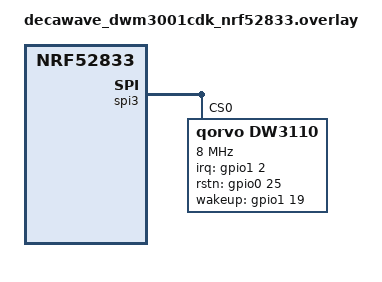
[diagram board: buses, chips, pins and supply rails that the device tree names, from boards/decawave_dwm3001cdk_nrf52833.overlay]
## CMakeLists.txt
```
#
# FindFamily UWB tracker firmware (Qorvo DWM3001CDK: nRF52833 + DW3110).
#
# Build:
#   west build -b nrf52833dk/nrf52833 firmware/findfamily-tracker
# See README.md for the DWM3001CDK board notes.
#
cmake_minimum_required(VERSION 3.20.0)

find_package(Zephyr REQUIRED HINTS $ENV{ZEPHYR_BASE})
project(findfamily_tracker)

target_sources(app PRIVATE
  src/main.c
  src/tracker_store.c
  src/tracker_epoch.c
  src/tracker_ble.c
)

# UWB is written but not built by default: the FiRa responder session needs the
# licensed Qorvo DW3xxx driver, which isn't vendored here. See README.md.
target_sources_ifdef(CONFIG_FF_TRACKER_UWB app PRIVATE
  src/tracker_sts.c
  src/tracker_uwb.c
)
```

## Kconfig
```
# Copyright (c) 2026 Vayun Mathur
# SPDX-License-Identifier: Apache-2.0

menu "FindFamily tracker"

config FF_TRACKER_UWB
	bool "Build the UWB (FiRa responder) path"
	default n
	select QORVO_UWB
	help
	  Compile src/tracker_sts.c and src/tracker_uwb.c, which run a FiRa
	  responder/controlee session on the DW3110. Off by default because it needs
	  the licensed Qorvo DW3xxx SDK, which is not vendored in this repo — the BLE
	  crowd-finding image builds and flashes without it. Point QORVO_SDK_DIR at an
	  extracted copy to enable this. See README.md.

config FF_TRACKER_BEACON_INTERVAL_MS
	int "Beacon advertising interval (ms)"
	default 1000
	range 100 10000
	help
	  Extended-advertising interval for the rotating epoch-id beacon. The tradeoff is
	  battery against how quickly a passing finder phone hears the tracker; 1 s is
	  roughly what commercial trackers use.

config FF_TRACKER_PAIRING_TIMEOUT_S
	int "Pairing-mode timeout (seconds)"
	default 120
	range 10 600
	help
	  How long an unprovisioned-service advertisement runs after a long button press
	  before falling back to the previous mode. Bounds the window in which anything
	  nearby could claim an already-bound tracker.

endmenu

source "Kconfig.zephyr"
```

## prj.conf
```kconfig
# FindFamily UWB tracker — nRF52833 (Qorvo DWM3001C module)

# PSA crypto needs a few KB of stack, and the main loop is where the epoch id is
# derived and the beacon started (both moved off the Bluetooth RX thread, whose stack
# is far too small for either — doing them inline in a GATT callback faults).
CONFIG_MAIN_STACK_SIZE=4096

# --- Bluetooth ------------------------------------------------------------
CONFIG_BT=y
CONFIG_BT_PERIPHERAL=y
CONFIG_BT_DEVICE_NAME="FF Tracker"
CONFIG_BT_DEVICE_APPEARANCE=0
# Two connection slots, not one. The switch to beacon mode happens while the binding
# phone is still attached, and starting a *connectable* advertisement needs a free slot —
# with a single slot it fails with -ENOMEM and the tracker ends up advertising nothing.
CONFIG_BT_MAX_CONN=2

# The crowd-finding beacon is [16B epochId][1B battery] of service data under a
# 128-bit UUID = 35 bytes on air, past the 31-byte legacy limit, so it has to be an
# extended advertisement. Pairing mode stays legacy (21 bytes) so the phone can find
# it with default scan settings.
CONFIG_BT_EXT_ADV=y
# Three advertising sets: the legacy pairing set, the extended beacon (data, not
# connectable), and a connectable set that runs alongside the beacon so the owner can write
# UWB session params while crowd-finding. See beacon_param in src/tracker_ble.c for why
# connectability cannot live on the beacon set itself.
CONFIG_BT_EXT_ADV_MAX_ADV_SET=3
CONFIG_BT_CTLR_ADV_EXT=y

CONFIG_BT_GATT_DYNAMIC_DB=y
# A client on the default 23-byte ATT MTU sends the 48-byte provisioning blob as a long
# write in ~20-byte chunks, so there must be room to queue at least three of them.
CONFIG_BT_ATT_PREPARE_COUNT=6
# Must fit the 48-byte provisioning write in a single ATT operation when the client does
# negotiate a larger MTU (the app asks for one).
CONFIG_BT_BUF_ACL_RX_SIZE=69
CONFIG_BT_L2CAP_TX_MTU=65

# --- Crypto (PSA / nrf_security) -----------------------------------------
# Epoch ids must be byte-identical to TrackerProtocol.epochId on the phone and
# tracker_epoch_id on the server, so use the same primitives: HMAC-SHA256 and
# HKDF-SHA256. CONFIG_NRF_SECURITY is deliberately not set: it is def_bool y once
# PSA_CRYPTO selects the Nordic provider, and assigning it directly is an error.
CONFIG_PSA_CRYPTO=y
CONFIG_PSA_WANT_ALG_SHA_256=y
CONFIG_PSA_WANT_ALG_HMAC=y
CONFIG_PSA_WANT_ALG_HKDF=y
CONFIG_PSA_WANT_KEY_TYPE_HMAC=y
CONFIG_PSA_WANT_KEY_TYPE_DERIVE=y
CONFIG_HEAP_MEM_POOL_SIZE=4096

# --- Persistence ---------------------------------------------------------
# The provisioning blob and the time base have to survive a reset, or the tracker
# beacons ids no owner is looking for.
CONFIG_NVS=y
CONFIG_FLASH=y
CONFIG_FLASH_MAP=y
CONFIG_FLASH_PAGE_LAYOUT=y
CONFIG_SETTINGS=y
CONFIG_SETTINGS_NVS=y

# --- Board I/O -----------------------------------------------------------
CONFIG_GPIO=y

# Hardware watchdog, fed by the main loop. A hung tracker advertises nothing, so a hang
# takes crowd-finding down with it and stays down until someone resets the board by hand.
# This turns that into a few seconds of downtime. See watchdog_init() in src/main.c.
CONFIG_WATCHDOG=y

# --- Logging over the on-board J-Link CDC UART ---------------------------
CONFIG_LOG=y
CONFIG_CONSOLE=y
CONFIG_UART_CONSOLE=y
CONFIG_LOG_MODE_DEFERRED=y
CONFIG_LOG_BUFFER_SIZE=4096

# Deferred logging processes every message on one thread, created at
# K_LOWEST_APPLICATION_THREAD_PRIO (14 here) unless told otherwise — below both UWB threads,
# so a busy UWB thread erased the record of what it was doing. Raising that thread above them
# is the fix; CONFIG_LOG_MODE_IMMEDIATE is not. Immediate mode "is processed in the context of
# the call" (Kconfig.mode), i.e. a LOG_INF from the Bluetooth RX thread sits in uart_poll_out
# for milliseconds per line, which is what made every GATT connection fail with Android
# status 133. A separate thread cannot do that to it: the RX thread is cooperative
# (K_PRIO_COOP(CONFIG_BT_RX_PRIO), hci_core.c) so no preemptible priority preempts it.
#
# 3 rather than something higher: above both UWB threads (6 and 7) and level with the Qorvo
# MAC's NORMAL band, which timeslicing then shares with rather than starving.
CONFIG_LOG_PROCESS_THREAD_CUSTOM_PRIORITY=y
CONFIG_LOG_PROCESS_THREAD_PRIORITY=3

# CONFIG_LOG_PRINTK is deliberately left at its default (y), so printk() stays inside the
# logging subsystem. Turning it off would make the ff_uwb_start() markers synchronous, but
# it also sends them to *the console* — the CDC UART, the path that drops lines (see below).
# The lossless path is CONFIG_LOG_BACKEND_RTT, and a log backend only ever sees LOG_*, never
# printk. Bring-up markers therefore go through LOG_INF, which reaches both backends.

# Also log over SEGGER RTT. The CDC UART path loses lines — a capture that should have held
# ~120 once-per-second beacon messages held 46 — which is bad enough to have produced
# contradictory evidence while debugging (a GATT write the phone reported as successful and
# the firmware appeared never to receive). RTT goes over the debug probe and doesn't drop.
CONFIG_USE_SEGGER_RTT=y
CONFIG_LOG_BACKEND_RTT=y
CONFIG_SEGGER_RTT_BUFFER_SIZE_UP=4096

CONFIG_REBOOT=y
```

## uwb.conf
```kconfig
# Overlay config for the UWB (FiRa precision-finding) build. Not part of prj.conf so the
# BLE-only image is unaffected:
#
#   west build -b decawave_dwm3001cdk/nrf52833 firmware/findfamily-tracker \
#     -- -DEXTRA_CONF_FILE=uwb.conf \
#        -DZEPHYR_EXTRA_MODULES=<repo>/firmware/qorvo-uwb
#
# Requires the licensed Qorvo SDK via QORVO_SDK_DIR / QORVO_DRIVER_DIR. See README.md.

CONFIG_FF_TRACKER_UWB=y

# Zephyr log level for firmware/qorvo-uwb's own sources (3 = INF), so the SPI probe trace
# and the DW3110 init messages are visible. Note this is Zephyr's scale, where 2 would be
# warning — distinct from CONFIG_QORVO_UWB_QLOG_LEVEL, which is Qorvo's.
CONFIG_QORVO_UWB_LOG_LEVEL_INF=y

# qosal allocates session state and frame buffers; firmware/qorvo-uwb routes those to
# k_malloc, so this pool has to cover them as well as normal kernel use — and now the MAC
# thread stacks too, since those are allocated from it.
CONFIG_HEAP_MEM_POOL_SIZE=24576

# Thread stacks for the Qorvo MAC are allocated at runtime. Its qmalloc returns pointers
# offset past a quota prefix, so the buffers it passes to qthread_create are byte-misaligned
# and unusable as Zephyr stacks; firmware/qorvo-uwb/src/qthread_zephyr.c ignores them and
# allocates properly instead, which needs these.
CONFIG_DYNAMIC_THREAD=y
CONFIG_DYNAMIC_THREAD_ALLOC=y
CONFIG_DYNAMIC_THREAD_PREFER_ALLOC=y

# The Qorvo MAC runs its own threads and workqueue.
CONFIG_SYSTEM_WORKQUEUE_STACK_SIZE=2048
```

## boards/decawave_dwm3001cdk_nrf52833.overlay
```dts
/*
 * DWM3001CDK: expose the on-module DW3110 as an SPI child so the Qorvo stack can
 * find its bus, chip select, IRQ and reset lines from the devicetree.
 *
 * Pin assignments are the DWM3001CDK's, taken from the vendor SDK's board config
 * (Projects/FreeRTOS/<app>/DWM3001CDK/ProjectDefinition/uwb_stack_llhw.cmake):
 *   SPI3  SCK P0.03, MOSI P0.08, MISO P0.29, CS P1.06   (already in the board dts)
 *   IRQ   P1.02
 *   RSTn  P0.25   open-drain: the DW3000 must never be driven high, only pulled low
 *   WAKEUP P1.19  unused for now; the part is kept out of deep sleep
 *
 * `qorvo,dw3110` has no Zephyr driver behind it: the binding
 * (firmware/qorvo-uwb/dts/bindings) exists only so DT_BUS()/GPIO_DT_SPEC_GET() resolve.
 * The Qorvo stack reaches the bus itself, see firmware/qorvo-uwb/src/qplatform_zephyr.c.
 */

&spi3 {
	status = "okay";

	dw3110: dw3110@0 {
		compatible = "qorvo,dw3110";
		reg = <0>;
		/* 8 MHz is the DW3000's safe rate until it leaves INIT state; the driver
		 * raises it to CONFIG_QORVO_UWB_SPI_FREQ_FAST_HZ once identified. */
		spi-max-frequency = <8000000>;
		irq-gpios = <&gpio1 2 (GPIO_ACTIVE_HIGH | GPIO_PULL_DOWN)>;
		/*
		 * Open drain, but deliberately NOT GPIO_ACTIVE_LOW. qplatform_uwb_reset()
		 * asserts reset with qgpio's QGPIO_OUTPUT_LOW, which maps to Zephyr's
		 * GPIO_OUTPUT_INIT_LOW — a *logical* level. Marking the pin active-low
		 * would invert that and release reset instead of asserting it. Active-high
		 * here makes logical and physical levels agree, so "output low" really
		 * pulls RSTn down; open drain still means it is never driven high.
		 */
		rstn-gpios = <&gpio0 25 GPIO_OPEN_DRAIN>;
		wakeup-gpios = <&gpio1 19 GPIO_ACTIVE_HIGH>;
		status = "okay";
	};
};
```

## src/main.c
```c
/*
 * FindFamily UWB tracker — main state machine.
 *
 * On boot: load persisted provisioning. Provisioned and time-synced -> beacon.
 * Otherwise -> pairing mode, so a brand-new board is bindable straight out of the box
 * without needing the button.
 *
 * Button (the kit's Button 1):
 *   long press  (>= 2 s) -> pairing mode for CONFIG_FF_TRACKER_PAIRING_TIMEOUT_S, then back
 *                           to beaconing. Note a bound tracker cannot be re-provisioned:
 *                           on_provision_write refuses writes once provisioned, which is
 *                           the anti-theft lock. Nothing unbinds a tracker today.
 *   short press          -> toggle the beacon off/on ("mute"), for taking it on a plane
 *                           or debugging whether a sighting really came from this board
 *
 * The beacon id and battery percent are refreshed once a second and logged, so the
 * board can be verified on the bench against an independently computed epoch id
 * without involving the phone at all.
 */
#include "ff_tracker.h"

#include <zephyr/kernel.h>
#include <zephyr/device.h>
#include <zephyr/drivers/gpio.h>
#include <zephyr/drivers/watchdog.h>
#include <zephyr/logging/log.h>
#include <psa/crypto.h>

LOG_MODULE_REGISTER(ff_main, LOG_LEVEL_INF);

#define LONG_PRESS_MS 2000
#define TICK_MS 1000

static struct ff_tracker_state tracker_state;

/* ---- Button ------------------------------------------------------------ */

static const struct gpio_dt_spec button =
	GPIO_DT_SPEC_GET_OR(DT_ALIAS(sw0), gpios, { 0 });
static struct gpio_callback button_cb;

static int64_t press_started_ms;
static atomic_t pending_short_press;
static atomic_t pending_long_press;

static void button_changed(const struct device *dev, struct gpio_callback *cb,
			   uint32_t pins)
{
	ARG_UNUSED(dev);
	ARG_UNUSED(cb);
	ARG_UNUSED(pins);

	if (gpio_pin_get_dt(&button) == 1) {
		press_started_ms = k_uptime_get();
		return;
	}
	if (press_started_ms == 0) {
		return;
	}
	if (k_uptime_get() - press_started_ms >= LONG_PRESS_MS) {
		atomic_set(&pending_long_press, 1);
	} else {
		atomic_set(&pending_short_press, 1);
	}
	press_started_ms = 0;
}

static int button_init(void)
{
	int rc;

	if (!gpio_is_ready_dt(&button)) {
		LOG_WRN("no sw0 button on this board; pairing mode is boot-only");
		return -ENODEV;
	}
	rc = gpio_pin_configure_dt(&button, GPIO_INPUT);
	if (rc) {
		return rc;
	}
	rc = gpio_pin_interrupt_configure_dt(&button, GPIO_INT_EDGE_BOTH);
	if (rc) {
		return rc;
	}
	gpio_init_callback(&button_cb, button_changed, BIT(button.pin));
	return gpio_add_callback(button.port, &button_cb);
}

/* ---- Battery ---------------------------------------------------------- */

/*
 * The DWM3001CDK is USB-powered on the bench, so there is no meaningful cell voltage
 * to read through the kit's SAADC wiring. Report a constant until a battery-backed
 * carrier exists; the advertisement byte and the phone-side parsing are exercised
 * either way. Sampling VDD here instead would just report the regulator, which reads
 * as a permanently full battery and is more misleading than an obvious placeholder.
 */
static uint8_t battery_percent(void)
{
	return 100;
}

/* ---- Main ------------------------------------------------------------- */

/*
 * Hardware watchdog.
 *
 * The UWB stack has wedged the firmware more than once, and a hung tracker advertises
 * nothing at all — so crowd-finding silently dies with it, and it stays dead until someone
 * physically resets the board. That happened for an hour. This bounds the damage to a few
 * seconds: the main loop feeds the watchdog on every pass, so if anything stops it running,
 * the device reboots and comes back advertising from its persisted state.
 *
 * The timeout is deliberately several times the loop period, so a slow pass never trips it.
 */
#define WDT_TIMEOUT_MS 8000

static const struct device *wdt;
static int wdt_channel = -1;

static void watchdog_init(void)
{
	struct wdt_timeout_cfg cfg = {
		.window = { .min = 0U, .max = WDT_TIMEOUT_MS },
		/* No callback: by the time it fires the firmware is untrustworthy, and a
		 * handler that tries to log could itself hang. Just reset. */
		.callback = NULL,
		.flags = WDT_FLAG_RESET_SOC,
	};
	int rc;

	wdt = DEVICE_DT_GET_OR_NULL(DT_ALIAS(watchdog0));
	if (wdt == NULL || !device_is_ready(wdt)) {
		LOG_WRN("no watchdog available; a hang will not self-recover");
		wdt = NULL;
		return;
	}

	wdt_channel = wdt_install_timeout(wdt, &cfg);
	if (wdt_channel < 0) {
		LOG_WRN("wdt_install_timeout: %d", wdt_channel);
		wdt = NULL;
		return;
	}
	/*
	 * WDT_OPT_PAUSE_HALTED_BY_DBG so a debugger breakpoint doesn't reboot the board
	 * mid-inspection. The nRF watchdog cannot be stopped once started, which is exactly
	 * the property wanted here.
	 */
	rc = wdt_setup(wdt, WDT_OPT_PAUSE_HALTED_BY_DBG);
	if (rc) {
		LOG_WRN("wdt_setup: %d", rc);
		wdt = NULL;
		return;
	}
	LOG_INF("watchdog armed (%d ms)", WDT_TIMEOUT_MS);
}

static void watchdog_feed(void)
{
	if (wdt != NULL && wdt_channel >= 0) {
		(void)wdt_feed(wdt, wdt_channel);
	}
}

int main(void)
{
	psa_status_t status;
	uint64_t last_persisted_epoch = 0;
	/* Non-zero while a long press has put a provisioned tracker into pairing mode. */
	int64_t pairing_deadline_ms = 0;
	int rc;

	LOG_INF("FindFamily tracker starting");

	/*
	 * Before anything that can fail out of main(). Every `return 0` below leaves a live
	 * board with no advertising and no thread to recover it, which is precisely what
	 * the watchdog exists to bound: armed first, such a board reboots and retries
	 * instead of going quiet until someone unplugs it.
	 */
	watchdog_init();

	status = psa_crypto_init();
	if (status != PSA_SUCCESS) {
		LOG_ERR("psa_crypto_init: %d", (int)status);
		return 0;
	}

	rc = ff_store_init();
	if (rc) {
		LOG_ERR("store init failed: %d", rc);
		return 0;
	}
	rc = ff_store_load(&tracker_state);
	if (rc) {
		LOG_ERR("store load failed: %d", rc);
	}

	rc = ff_ble_init(&tracker_state);
	if (rc) {
		LOG_ERR("ble init failed: %d", rc);
		return 0;
	}

	(void)button_init();

#ifdef CONFIG_FF_TRACKER_UWB
	/* Crypto, NVS and bt_enable() are behind us; don't make the UWB bring-up share
	 * their slice of the watchdog window. */
	watchdog_feed();
	rc = ff_uwb_init();
	if (rc) {
		LOG_ERR("uwb init failed: %d", rc);
	}
#endif

	if (tracker_state.provisioned) {
		LOG_INF("provisioned as userId=%llu", tracker_state.tracker_user_id);
		if (ff_ble_set_mode(FF_BLE_MODE_BEACON) != 0) {
			/*
			 * Provisioned but unusable — almost always a missing time base,
			 * without which no epoch id would fall in the owner's search
			 * window. Nothing can currently repair that over the air
			 * (on_provision_write refuses writes once provisioned), so pairing
			 * mode here only makes the tracker visible to the owner's app
			 * rather than silent.
			 */
			(void)ff_ble_set_mode(FF_BLE_MODE_PAIRING);
		}
	} else {
		LOG_INF("unprovisioned; entering pairing mode");
		(void)ff_ble_set_mode(FF_BLE_MODE_PAIRING);
	}

	while (true) {
		watchdog_feed();

		if (ff_ble_take_provision_event()) {
			LOG_INF("provisioning accepted: switching to beacon mode");
			if (ff_ble_set_mode(FF_BLE_MODE_BEACON) != 0) {
				/* Expected while the phone is still connected: a connectable
				 * advertisement needs a free connection slot. The disconnect
				 * handler asks us to retry. */
				LOG_INF("beacon will start once the phone disconnects");
			}
		}

		if (ff_ble_take_readvertise_event()) {
			LOG_INF("connection ended: re-applying advertising");
			(void)ff_ble_readvertise();
		}

		{
			uint8_t uwb_params[FF_UWB_PARAMS_LEN];

			if (ff_ble_take_uwb_params(uwb_params)) {
				(void)ff_uwb_on_params(uwb_params, sizeof(uwb_params),
						       tracker_state.secret);
			}
		}

		if (atomic_cas(&pending_long_press, 1, 0)) {
			LOG_INF("long press: entering pairing mode");
			(void)ff_ble_set_mode(FF_BLE_MODE_PAIRING);
			pairing_deadline_ms = 0;
			if (tracker_state.provisioned) {
				/*
				 * Bound trackers go back to beaconing on their own. Leaving
				 * the unprovisioned service on air indefinitely both stops
				 * crowd-finding and widens the window in which anything
				 * nearby could try to claim the tracker. An unprovisioned
				 * board has nothing to go back to, so it keeps advertising
				 * until it is bound.
				 *
				 * Measured from the press, not from when the advertisement
				 * starts: if it could not start yet — the connection slot was
				 * busy — ff_ble_readvertise() starts it later, and the window
				 * still expires rather than running unbounded.
				 */
				pairing_deadline_ms =
					k_uptime_get() +
					CONFIG_FF_TRACKER_PAIRING_TIMEOUT_S * MSEC_PER_SEC;
			}
		}
		if (pairing_deadline_ms != 0 && ff_ble_mode() == FF_BLE_MODE_PAIRING &&
		    k_uptime_get() >= pairing_deadline_ms) {
			pairing_deadline_ms = 0;
			LOG_INF("pairing window over: back to beaconing");
			if (ff_ble_set_mode(FF_BLE_MODE_BEACON) != 0) {
				/* Same fallback as at boot: beacon mode needs a time base,
				 * and a tracker advertising nothing at all is worse than one
				 * still offering to bind. */
				(void)ff_ble_set_mode(FF_BLE_MODE_PAIRING);
			}
		}
		if (atomic_cas(&pending_short_press, 1, 0)) {
			if (ff_ble_mode() == FF_BLE_MODE_BEACON) {
				LOG_INF("short press: muting beacon");
				(void)ff_ble_set_mode(FF_BLE_MODE_IDLE);
			} else if (tracker_state.provisioned) {
				LOG_INF("short press: unmuting beacon");
				(void)ff_ble_set_mode(FF_BLE_MODE_BEACON);
			}
		}

		if (tracker_state.provisioned) {
			uint64_t epoch = ff_current_epoch(&tracker_state);

			(void)ff_ble_refresh_beacon(battery_percent());

			/*
			 * Re-persist the time base once per epoch. k_uptime_get() restarts
			 * at 0 on reset, so without this a reset would lose the time base
			 * entirely; with it, the worst case is one epoch of drift.
			 */
			if (epoch != 0U && epoch != last_persisted_epoch) {
				(void)ff_store_save_time(ff_now_unix(&tracker_state));
				last_persisted_epoch = epoch;
			}
		}

		k_msleep(TICK_MS);
	}
	return 0;
}
```

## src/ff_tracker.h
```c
/*
 * FindFamily UWB tracker — internal interfaces.
 *
 * The wire formats here are fixed by the phone side; see
 * findfamily/src/main/java/com/vayunmathur/findfamily/tracker/TrackerBle.kt and
 * TrackerProtocol.kt. Any change has to be made in both places at once.
 */
#ifndef FF_TRACKER_H_
#define FF_TRACKER_H_

#include <stdbool.h>
#include <stdint.h>
#include <stddef.h>

/* TrackerProtocol.SECRET_LEN */
#define FF_SECRET_LEN 32
/* TrackerProtocol.EPOCH_ID_LEN */
#define FF_EPOCH_ID_LEN 16
/* TrackerProtocol.EPOCH_SECONDS */
#define FF_EPOCH_SECONDS 900U

/* TrackerBle.PROVISION_BLOB_LEN / PROVISION_BLOB_LEN_NO_TIME */
#define FF_PROVISION_BLOB_LEN 48
#define FF_PROVISION_BLOB_LEN_NO_TIME 40

/* TrackerUwbGatt.encodeSessionParams:
 * [2B addr little-endian][4B sessionId BE][1B ch][1B preamble] */
#define FF_UWB_PARAMS_LEN 8

/* Service data payload: [16B epochId][1B battery%] */
#define FF_BEACON_DATA_LEN (FF_EPOCH_ID_LEN + 1)

/* Everything the tracker persists across resets. */
struct ff_tracker_state {
	uint64_t tracker_user_id;
	uint8_t secret[FF_SECRET_LEN];
	bool provisioned;
	/*
	 * Wall-clock seconds at the moment `uptime_at_base_ms` was taken. Zero means
	 * "no time base": the tracker cannot compute an epoch id anyone is looking for
	 * and stays quiet rather than beaconing garbage.
	 */
	uint64_t unix_at_base;
	int64_t uptime_at_base_ms;
};

/* ---- tracker_store.c: NVS-backed persistence ---------------------------- */

int ff_store_init(void);

/* Loads persisted state into `out`. Returns 0 even when nothing is stored yet, in
 * which case `out->provisioned` is false. */
int ff_store_load(struct ff_tracker_state *out);

int ff_store_save_provisioning(uint64_t tracker_user_id, const uint8_t *secret,
			       uint64_t unix_seconds);

/* Re-persists just the time base. Called once per epoch so a reset costs at most one
 * epoch of drift instead of the whole time base. */
int ff_store_save_time(uint64_t unix_seconds);

/* Wipes provisioning so the device can be re-bound. */
int ff_store_clear(void);

/* ---- tracker_epoch.c: rotating beacon id ------------------------------- */

/* Current wall-clock seconds, or 0 if there is no time base yet. */
uint64_t ff_now_unix(const struct ff_tracker_state *st);

/* epoch = unix_seconds / FF_EPOCH_SECONDS */
uint64_t ff_current_epoch(const struct ff_tracker_state *st);

/*
 * epochId = HMAC-SHA256(secret, "fftrk1" || u64_be(epoch))[..16].
 * Mirrors TrackerProtocol.epochId; `out` must hold FF_EPOCH_ID_LEN bytes.
 */
int ff_epoch_id(const uint8_t *secret, uint64_t epoch, uint8_t *out);

/* ---- tracker_ble.c: advertising + GATT --------------------------------- */

enum ff_ble_mode {
	/* Nothing on air: unprovisioned and not pairing, or muted by the user. */
	FF_BLE_MODE_IDLE,
	/* Legacy connectable adv of the unprovisioned service, awaiting a bind. */
	FF_BLE_MODE_PAIRING,
	/* Extended non-connectable adv carrying the rotating epoch id, plus a separate
	 * legacy connectable set so the owner can still write UWB session params. */
	FF_BLE_MODE_BEACON,
};

int ff_ble_init(struct ff_tracker_state *state);

int ff_ble_set_mode(enum ff_ble_mode mode);

enum ff_ble_mode ff_ble_mode(void);

/*
 * GATT writes are handled on the Bluetooth RX thread, whose stack is nowhere near big
 * enough for PSA crypto plus starting an advertisement — doing that work inline faults
 * with a stack overflow. The write callbacks therefore only record what arrived, and the
 * main loop drains it. Both of these return true once per event and clear it.
 */
bool ff_ble_take_provision_event(void);

/* Copies FF_UWB_PARAMS_LEN bytes into `out` when a session-params write is pending. */
bool ff_ble_take_uwb_params(uint8_t *out);

/*
 * True once after a disconnect. Both cases need it: a mode we could not start while the
 * connection slot was taken, and — in beacon mode — the connectable set the controller
 * stopped when it accepted that connection.
 */
bool ff_ble_take_readvertise_event(void);

/*
 * Puts advertising back to what it should be after a disconnect. Not the same as
 * ff_ble_set_mode(): that returns early when the mode is already current, which is exactly
 * the case where the connectable set needs restarting.
 */
int ff_ble_readvertise(void);

/* Recomputes the epoch id and pushes fresh service data into the beacon adv set. */
int ff_ble_refresh_beacon(uint8_t battery_percent);

/* ---- UWB (CONFIG_FF_TRACKER_UWB) --------------------------------------- */

#ifdef CONFIG_FF_TRACKER_UWB
/*
 * HKDF-SHA256 derivations mirroring TrackerUwbKeys.kt. `out` must hold 8 bytes for
 * the STS key and 2 for the address.
 */
int ff_sts_key(const uint8_t *secret, uint32_t session_id, uint8_t *out);
int ff_uwb_address(const uint8_t *secret, uint8_t *out);

struct ff_uwb_params {
	uint8_t peer_address[2]; /* the phone's UWB MAC, from the GATT write */
	uint32_t session_id;
	uint8_t channel;
	uint8_t preamble_index;
};

int ff_uwb_init(void);

/* Starts a FiRa responder/controlee session. Session key and our own address are
 * derived from `secret`, never taken from the wire. */
int ff_uwb_start(const struct ff_uwb_params *params, const uint8_t *secret);

void ff_uwb_stop(void);
#endif /* CONFIG_FF_TRACKER_UWB */

/* Handles a write to the UWB session characteristic. Defined in tracker_uwb.c when
 * CONFIG_FF_TRACKER_UWB is set, and stubbed in tracker_ble.c otherwise. */
int ff_uwb_on_params(const uint8_t *data, size_t len, const uint8_t *secret);

#endif /* FF_TRACKER_H_ */
```

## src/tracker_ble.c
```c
/*
 * Advertising (two modes) and the GATT server.
 *
 * Two advertising modes on one state machine, chosen so only the phone's beacon
 * scanner needs a change:
 *
 *  - Pairing: LEGACY connectable adv of the unprovisioned service. Flags + a 128-bit
 *    service UUID is 21 bytes, well inside the 31-byte legacy budget, so
 *    TrackerProvisioner.unprovisioned() keeps working with default (legacy-only)
 *    ScanSettings.
 *
 *  - Beacon: EXTENDED NON-connectable adv of [16B epochId][1B battery] as service data.
 *    That AD structure is 18B of overhead + 17B of payload = 35 bytes, past the legacy
 *    limit, and the full 16-byte UUID has to be on air because the phone reads it back
 *    with ScanRecord.getServiceData(ParcelUuid). Secondary PHY is pinned to 1M so the
 *    phone needs no coded-PHY scan configuration. Connectability runs on a third, legacy,
 *    dataless set alongside it — see beacon_param for why it cannot live on the beacon
 *    set itself.
 *
 * Both characteristics stay registered under the "unprovisioned" service for the
 * device's whole life; provisioning only stops that service being advertised.
 */
#include "ff_tracker.h"

#include <zephyr/kernel.h>
#include <zephyr/logging/log.h>
#include <zephyr/bluetooth/bluetooth.h>
#include <zephyr/bluetooth/conn.h>
#include <zephyr/bluetooth/gatt.h>
#include <zephyr/bluetooth/uuid.h>
#include <zephyr/sys/byteorder.h>

#include <string.h>

LOG_MODULE_REGISTER(ff_ble, LOG_LEVEL_INF);

/* TrackerBle UUIDs, little-endian byte order as bt_uuid_128 wants them. */
#define FF_UUID_BEACON_SVC \
	BT_UUID_128_ENCODE(0x6b1d2f00, 0x4b3a, 0x4c7e, 0x9a10, 0x1f2e3d4c5b6a)
#define FF_UUID_PROV_SVC \
	BT_UUID_128_ENCODE(0x6b1d2f01, 0x4b3a, 0x4c7e, 0x9a10, 0x1f2e3d4c5b6a)
#define FF_UUID_PROV_CHR \
	BT_UUID_128_ENCODE(0x6b1d2f02, 0x4b3a, 0x4c7e, 0x9a10, 0x1f2e3d4c5b6a)
#define FF_UUID_UWB_CHR \
	BT_UUID_128_ENCODE(0x6b1d2f03, 0x4b3a, 0x4c7e, 0x9a10, 0x1f2e3d4c5b6a)

static const struct bt_uuid_128 uuid_prov_svc = BT_UUID_INIT_128(FF_UUID_PROV_SVC);
static const struct bt_uuid_128 uuid_prov_chr = BT_UUID_INIT_128(FF_UUID_PROV_CHR);
static const struct bt_uuid_128 uuid_uwb_chr = BT_UUID_INIT_128(FF_UUID_UWB_CHR);

static struct ff_tracker_state *state;
static enum ff_ble_mode current_mode = FF_BLE_MODE_IDLE;
/*
 * The mode we want to be in, as distinct from the one we managed to start. Starting a
 * connectable advertisement needs a spare connection slot, so a mode switch requested
 * while a phone is still connected can fail; this lets the main loop retry once the
 * connection drops.
 */
static enum ff_ble_mode desired_mode = FF_BLE_MODE_IDLE;

static struct bt_le_ext_adv *pairing_adv;
static struct bt_le_ext_adv *beacon_adv;
/* Runs alongside beacon_adv so the owner can connect while crowd-finding. */
static struct bt_le_ext_adv *connect_adv;

/*
 * Service-data AD payload: the 16-byte UUID followed by [16B epochId][1B battery].
 * Held in a static buffer because bt_le_ext_adv_set_data() does not copy — the
 * controller reads it back when it refreshes the advertisement.
 */
static uint8_t beacon_sd[16 + FF_BEACON_DATA_LEN] = { FF_UUID_BEACON_SVC };

static const struct bt_data pairing_ad[] = {
	BT_DATA_BYTES(BT_DATA_FLAGS, (BT_LE_AD_GENERAL | BT_LE_AD_NO_BREDR)),
	BT_DATA_BYTES(BT_DATA_UUID128_ALL, FF_UUID_PROV_SVC),
};

static struct bt_data beacon_ad[] = {
	/*
	 * The service UUID must be advertised as its own AD field, not just implied by the
	 * service data below. Android's ScanFilter.setServiceUuid() matches against the
	 * Service UUID AD types (0x06/0x07) and ignores service data, so a beacon carrying
	 * only 0x21 is invisible to a filtered scan no matter how correct its payload is.
	 * Costs 18 bytes, which extended advertising has room for.
	 */
	BT_DATA_BYTES(BT_DATA_UUID128_ALL, FF_UUID_BEACON_SVC),
	BT_DATA(BT_DATA_SVC_DATA128, beacon_sd, sizeof(beacon_sd)),
};

/*
 * Work handed from the Bluetooth RX thread to the main loop. The RX thread's stack
 * cannot absorb PSA crypto plus bt_le_ext_adv_start(); doing either inline in a write
 * callback faults with a stack overflow.
 */
static atomic_t pending_provision;
static atomic_t pending_uwb;
static atomic_t pending_readvertise;
static uint8_t pending_uwb_params[FF_UWB_PARAMS_LEN];

/*
 * Reassembly buffer for the provisioning blob. A client that hasn't negotiated a larger
 * ATT MTU delivers it as a long write in ~20-byte chunks.
 */
static uint8_t provision_staging[FF_PROVISION_BLOB_LEN];

/* ---- Connection tracking (bring-up visibility) ------------------------- */

static void on_connected(struct bt_conn *conn, uint8_t err)
{
	struct bt_conn_info info;

	if (err) {
		LOG_WRN("connection failed: 0x%02x", err);
		return;
	}
	if (bt_conn_get_info(conn, &info) == 0) {
		LOG_INF("connected (interval=%uus latency=%u timeout=%u)",
			info.le.interval_us, info.le.latency, info.le.timeout);
	} else {
		LOG_INF("connected");
	}
}

static void on_disconnected(struct bt_conn *conn, uint8_t reason)
{
	ARG_UNUSED(conn);
	/*
	 * Worth logging the reason: 0x08 is a supervision timeout (out of range or the
	 * phone stopped responding) and 0x13/0x16 are a deliberate disconnect by peer or
	 * host, which is what a completed or abandoned bind looks like.
	 */
	LOG_INF("disconnected (reason=0x%02x)", reason);

	/*
	 * Always ask the main loop to re-apply advertising, not just when the mode we
	 * wanted differs from the one we got. The controller stops a connectable set when
	 * it yields a connection and Zephyr does not restart it, so after one owner
	 * connection connect_adv is down with both modes still BEACON — and the tracker is
	 * unreachable for every later find, which is what made each bring-up iteration need
	 * a power cycle.
	 */
	atomic_set(&pending_readvertise, 1);
}

BT_CONN_CB_DEFINE(conn_callbacks) = {
	.connected = on_connected,
	.disconnected = on_disconnected,
};

static void on_mtu_updated(struct bt_conn *conn, uint16_t tx, uint16_t rx)
{
	ARG_UNUSED(conn);
	/*
	 * The provisioning blob is FF_PROVISION_BLOB_LEN bytes and an ATT write carries
	 * MTU-3, so anything below 51 means the client has to use a long write.
	 */
	LOG_INF("ATT MTU updated: tx=%u rx=%u (%u needed to write the blob in one go)", tx,
		rx, FF_PROVISION_BLOB_LEN + 3);
}

static struct bt_gatt_cb gatt_callbacks = {
	.att_mtu_updated = on_mtu_updated,
};

/* ---- GATT -------------------------------------------------------------- */

static ssize_t on_provision_write(struct bt_conn *conn, const struct bt_gatt_attr *attr,
				  const void *buf, uint16_t len, uint16_t offset, uint8_t flags)
{
	const uint8_t *data = buf;
	uint64_t user_id;
	uint64_t unix_seconds = 0U;
	uint16_t total;
	int rc;

	ARG_UNUSED(conn);
	ARG_UNUSED(attr);

	/*
	 * The blob is 48 bytes, well past the 20 usable bytes of a default 23-byte ATT
	 * MTU, so a client that hasn't negotiated a larger MTU sends it as a long write:
	 * several Prepare Writes at increasing offsets, then one Execute Write. Zephyr
	 * reassembles contiguous fragments itself and calls this once with the first
	 * fragment's offset (att.c exec_write_reassemble), but a client is also free to
	 * write at explicit offsets, so chunks are staged here either way.
	 *
	 * The PREPARE flag only ever arrives for an attribute carrying
	 * BT_GATT_PERM_PREPARE_WRITE (att.c:2262), which this one does not; handling it is
	 * kept so that adding the permission cannot silently commit a half blob.
	 */
	if (flags & BT_GATT_WRITE_FLAG_PREPARE) {
		return 0;
	}

	/*
	 * Provisioning is only meaningful while unprovisioned. Refusing it once bound also
	 * surfaces a misdirected write: an 8-byte UWB session-params write landing here
	 * instead of on the UWB characteristic would otherwise be silently accepted as a
	 * partial chunk of a long write, and reported to the phone as success.
	 */
	if (state->provisioned) {
		LOG_WRN("provisioning write of %u bytes at offset %u refused: already "
			"provisioned (misdirected UWB write?)", len, offset);
		return BT_GATT_ERR(BT_ATT_ERR_WRITE_NOT_PERMITTED);
	}

	if (offset + len > sizeof(provision_staging)) {
		LOG_WRN("provisioning write past end of blob (offset=%u len=%u)", offset, len);
		return BT_GATT_ERR(BT_ATT_ERR_INVALID_ATTRIBUTE_LEN);
	}
	memcpy(&provision_staging[offset], data, len);
	total = offset + len;

	/*
	 * 40 counts as a complete blob only when it arrived in one piece. A 48-byte blob
	 * written at offsets 0/20/40 passes through total == 40 on its way, and treating
	 * that as complete committed provisioning with unix_seconds = 0, set `provisioned`,
	 * and then rejected its own final chunk at the guard above — leaving a tracker with
	 * no time base that can never beacon and can never be re-provisioned. Nothing can
	 * tell the two apart mid-write, so the 40-byte form has to arrive whole; every
	 * producer sends it that way (TrackerBle, tools/bench_provision.py), and it fits a
	 * single write at the MTU this build asks for.
	 */
	if (total != FF_PROVISION_BLOB_LEN &&
	    !(offset == 0U && len == FF_PROVISION_BLOB_LEN_NO_TIME)) {
		/* A partial chunk: acknowledge it and wait for the rest. */
		LOG_DBG("provisioning chunk: offset=%u len=%u", offset, len);
		return len;
	}
	data = provision_staging;

	user_id = sys_get_be64(data);
	if (total == FF_PROVISION_BLOB_LEN) {
		unix_seconds = sys_get_be64(&data[8 + FF_SECRET_LEN]);
	}

	rc = ff_store_save_provisioning(user_id, &data[8], unix_seconds);
	if (rc) {
		LOG_ERR("persisting provisioning failed: %d", rc);
		return BT_GATT_ERR(BT_ATT_ERR_UNLIKELY);
	}

	state->tracker_user_id = user_id;
	memcpy(state->secret, &data[8], FF_SECRET_LEN);
	state->provisioned = true;
	state->unix_at_base = unix_seconds;
	state->uptime_at_base_ms = k_uptime_get();

	LOG_INF("provisioned: userId=%llu, %u-byte blob, unix=%llu", user_id, total,
		unix_seconds);
	if (unix_seconds == 0U) {
		LOG_WRN("no timestamp in blob: epoch ids will not resolve for the owner");
	}

	/* The main loop stops offering to be claimed and starts crowd-finding. */
	atomic_set(&pending_provision, 1);
	return len;
}

static ssize_t on_uwb_write(struct bt_conn *conn, const struct bt_gatt_attr *attr,
			    const void *buf, uint16_t len, uint16_t offset, uint8_t flags)
{
	ARG_UNUSED(conn);
	ARG_UNUSED(attr);
	ARG_UNUSED(flags);

	LOG_INF("UWB params write: len=%u offset=%u", len, offset);

	if (offset != 0U) {
		LOG_WRN("UWB params write rejected: offset=%u (expected 0)", offset);
		return BT_GATT_ERR(BT_ATT_ERR_INVALID_OFFSET);
	}
	if (len != FF_UWB_PARAMS_LEN) {
		LOG_WRN("UWB params write rejected: %u bytes (expected %d)", len,
			FF_UWB_PARAMS_LEN);
		return BT_GATT_ERR(BT_ATT_ERR_INVALID_ATTRIBUTE_LEN);
	}
	if (!state->provisioned) {
		/* Without the secret there is no session key, so there is nothing to
		 * start - and an unprovisioned tracker has no owner to be ranged by. */
		LOG_WRN("UWB params write rejected: not provisioned");
		return BT_GATT_ERR(BT_ATT_ERR_WRITE_NOT_PERMITTED);
	}
	/* Deriving the STS key is PSA work; hand it to the main loop. */
	memcpy(pending_uwb_params, buf, FF_UWB_PARAMS_LEN);
	atomic_set(&pending_uwb, 1);
	return len;
}

bool ff_ble_take_provision_event(void)
{
	return atomic_cas(&pending_provision, 1, 0);
}

bool ff_ble_take_uwb_params(uint8_t *out)
{
	if (!atomic_cas(&pending_uwb, 1, 0)) {
		return false;
	}
	memcpy(out, pending_uwb_params, FF_UWB_PARAMS_LEN);
	return true;
}

bool ff_ble_take_readvertise_event(void)
{
	return atomic_cas(&pending_readvertise, 1, 0);
}

BT_GATT_SERVICE_DEFINE(ff_tracker_svc,
	BT_GATT_PRIMARY_SERVICE(&uuid_prov_svc),
	BT_GATT_CHARACTERISTIC(&uuid_prov_chr.uuid,
			       BT_GATT_CHRC_WRITE,
			       BT_GATT_PERM_WRITE,
			       NULL, on_provision_write, NULL),
	BT_GATT_CHARACTERISTIC(&uuid_uwb_chr.uuid,
			       BT_GATT_CHRC_WRITE | BT_GATT_CHRC_NOTIFY,
			       BT_GATT_PERM_WRITE,
			       NULL, on_uwb_write, NULL),
	BT_GATT_CCC(NULL, BT_GATT_PERM_READ | BT_GATT_PERM_WRITE),
);

#ifndef CONFIG_FF_TRACKER_UWB
int ff_uwb_on_params(const uint8_t *data, size_t len, const uint8_t *secret)
{
	ARG_UNUSED(data);
	ARG_UNUSED(len);
	ARG_UNUSED(secret);
	/* Accepted and logged so the phone-side GATT write can be exercised on a
	 * BLE-only image; ranging itself needs CONFIG_FF_TRACKER_UWB. */
	LOG_INF("UWB session params received but CONFIG_FF_TRACKER_UWB=n; ignoring");
	return 0;
}
#endif

/* ---- Advertising ------------------------------------------------------- */

static int create_adv_sets(void)
{
	/* Legacy connectable+scannable, so a default-settings scanner sees it. */
	const struct bt_le_adv_param pairing_param = {
		.id = BT_ID_DEFAULT,
		.options = BT_LE_ADV_OPT_CONN,
		.interval_min = BT_GAP_ADV_FAST_INT_MIN_2,
		.interval_max = BT_GAP_ADV_FAST_INT_MAX_2,
	};
	/*
	 * Beacon data set: extended, NON-connectable.
	 *
	 * BT_LE_ADV_OPT_EXT_ADV without OPT_CODED pins the secondary PHY to 1M, so a phone
	 * scanning with setLegacy(false) on the default PHY sees it.
	 *
	 * Deliberately NOT connectable. A connectable extended advertising set cannot carry
	 * advertising data at all in BLE 5 — ask for both and the controller keeps the data
	 * and quietly drops connectability, so the tracker beacons perfectly while being
	 * impossible to connect to. That cost an evening: the phone timed out with GATT
	 * status 147 while Android's stale service cache kept reporting success from a
	 * previous session. Connectability now lives on its own set below.
	 */
	const struct bt_le_adv_param beacon_param = {
		.id = BT_ID_DEFAULT,
		.options = BT_LE_ADV_OPT_EXT_ADV,
		.interval_min = BT_GAP_MS_TO_ADV_INTERVAL(CONFIG_FF_TRACKER_BEACON_INTERVAL_MS),
		.interval_max = BT_GAP_MS_TO_ADV_INTERVAL(CONFIG_FF_TRACKER_BEACON_INTERVAL_MS + 100),
		.secondary_max_skip = 0,
	};
	/*
	 * Connectable set, run alongside the beacon so the owner can still write UWB session
	 * params while crowd-finding. Legacy connectable and carries no data: finders locate
	 * the tracker by the beacon's rotating id, and the owner already knows its address,
	 * so advertising anything identifiable here would only leak a stable identifier.
	 */
	const struct bt_le_adv_param connect_param = {
		.id = BT_ID_DEFAULT,
		.options = BT_LE_ADV_OPT_CONN,
		.interval_min = BT_GAP_ADV_SLOW_INT_MIN,
		.interval_max = BT_GAP_ADV_SLOW_INT_MAX,
	};
	int rc;

	rc = bt_le_ext_adv_create(&pairing_param, NULL, &pairing_adv);
	if (rc) {
		LOG_ERR("creating pairing adv set: %d", rc);
		return rc;
	}
	rc = bt_le_ext_adv_set_data(pairing_adv, pairing_ad, ARRAY_SIZE(pairing_ad), NULL, 0);
	if (rc) {
		LOG_ERR("setting pairing adv data: %d", rc);
		return rc;
	}

	rc = bt_le_ext_adv_create(&beacon_param, NULL, &beacon_adv);
	if (rc) {
		LOG_ERR("creating beacon adv set: %d", rc);
		return rc;
	}

	/* No data on this one, deliberately — see connect_param. */
	rc = bt_le_ext_adv_create(&connect_param, NULL, &connect_adv);
	if (rc) {
		LOG_ERR("creating connectable adv set: %d", rc);
		return rc;
	}
	return 0;
}

int ff_ble_init(struct ff_tracker_state *st)
{
	int rc;

	state = st;

	rc = bt_enable(NULL);
	if (rc) {
		LOG_ERR("bt_enable: %d", rc);
		return rc;
	}
	bt_gatt_cb_register(&gatt_callbacks);
	LOG_INF("Bluetooth initialised");
	return create_adv_sets();
}

int ff_ble_refresh_beacon(uint8_t battery_percent)
{
	uint8_t epoch_id[FF_EPOCH_ID_LEN];
	uint64_t epoch;
	int rc;

	if (!state->provisioned) {
		return -EPERM;
	}
	epoch = ff_current_epoch(state);
	if (epoch == 0U) {
		/* No time base: any id we produced would fall outside the owner's search
		 * window, so stay quiet rather than fill the air with unresolvable ids. */
		return -EAGAIN;
	}
	rc = ff_epoch_id(state->secret, epoch, epoch_id);
	if (rc) {
		return rc;
	}

	memcpy(&beacon_sd[16], epoch_id, FF_EPOCH_ID_LEN);
	beacon_sd[16 + FF_EPOCH_ID_LEN] = battery_percent;

	LOG_INF("epoch=%llu id=%02x%02x%02x%02x%02x%02x%02x%02x%02x%02x%02x%02x%02x%02x%02x%02x batt=%u%% %s",
		epoch, epoch_id[0], epoch_id[1], epoch_id[2], epoch_id[3], epoch_id[4],
		epoch_id[5], epoch_id[6], epoch_id[7], epoch_id[8], epoch_id[9],
		epoch_id[10], epoch_id[11], epoch_id[12], epoch_id[13], epoch_id[14],
		epoch_id[15], battery_percent,
		current_mode == FF_BLE_MODE_BEACON ? "(on air)" : "(NOT advertising)");

	if (current_mode != FF_BLE_MODE_BEACON) {
		return 0;
	}
	rc = bt_le_ext_adv_set_data(beacon_adv, beacon_ad, ARRAY_SIZE(beacon_ad), NULL, 0);
	if (rc) {
		LOG_ERR("refreshing beacon adv data: %d", rc);
	}
	return rc;
}

int ff_ble_set_mode(enum ff_ble_mode mode)
{
	int rc;

	desired_mode = mode;

	if (mode == current_mode) {
		return 0;
	}

	/* Stopping a set that isn't running returns -EALREADY, which is not a failure
	 * here — mode changes can arrive from the button and from a GATT write. */
	if (current_mode == FF_BLE_MODE_PAIRING) {
		rc = bt_le_ext_adv_stop(pairing_adv);
		if (rc && rc != -EALREADY) {
			LOG_WRN("stopping pairing adv: %d", rc);
		}
	} else if (current_mode == FF_BLE_MODE_BEACON) {
		rc = bt_le_ext_adv_stop(beacon_adv);
		if (rc && rc != -EALREADY) {
			LOG_WRN("stopping beacon adv: %d", rc);
		}
		rc = bt_le_ext_adv_stop(connect_adv);
		if (rc && rc != -EALREADY) {
			LOG_WRN("stopping connectable adv: %d", rc);
		}
	}
	current_mode = FF_BLE_MODE_IDLE;

	switch (mode) {
	case FF_BLE_MODE_IDLE:
		LOG_INF("advertising off");
		return 0;

	case FF_BLE_MODE_PAIRING:
		rc = bt_le_ext_adv_start(pairing_adv, BT_LE_EXT_ADV_START_DEFAULT);
		if (rc) {
			LOG_ERR("starting pairing adv: %d", rc);
			return rc;
		}
		current_mode = FF_BLE_MODE_PAIRING;
		LOG_INF("pairing mode: advertising unprovisioned service (legacy)");
		return 0;

	case FF_BLE_MODE_BEACON:
		if (!state->provisioned) {
			LOG_WRN("cannot beacon: not provisioned");
			return -EPERM;
		}
		/* Fill in service data before the first start, or the controller would
		 * advertise a zeroed epoch id for one interval. */
		current_mode = FF_BLE_MODE_BEACON;
		rc = ff_ble_refresh_beacon(100);
		if (rc == -EAGAIN) {
			current_mode = FF_BLE_MODE_IDLE;
			LOG_WRN("cannot beacon: no time base");
			return rc;
		}
		if (rc) {
			current_mode = FF_BLE_MODE_IDLE;
			return rc;
		}
		rc = bt_le_ext_adv_start(beacon_adv, BT_LE_EXT_ADV_START_DEFAULT);
		if (rc) {
			current_mode = FF_BLE_MODE_IDLE;
			LOG_ERR("starting beacon adv: %d", rc);
			return rc;
		}
		/*
		 * Connectability is a separate set. Failing to start it is not fatal — the
		 * tracker is still findable, it just can't be ranged until the next attempt
		 * — so log and carry on rather than dropping out of beacon mode.
		 */
		rc = bt_le_ext_adv_start(connect_adv, BT_LE_EXT_ADV_START_DEFAULT);
		if (rc) {
			LOG_WRN("starting connectable adv: %d (UWB handover unavailable)", rc);
		}
		LOG_INF("beacon mode: rotating epoch id (extended) + connectable set");
		return 0;
	}
	return -EINVAL;
}

enum ff_ble_mode ff_ble_mode(void)
{
	return current_mode;
}

int ff_ble_readvertise(void)
{
	struct bt_le_ext_adv *adv;
	int rc;

	if (desired_mode != current_mode) {
		/* The mode we wanted never started — usually beacon mode attempted while
		 * the binding phone still held the connection slot. */
		return ff_ble_set_mode(desired_mode);
	}
	/*
	 * Otherwise the mode is already current, so ff_ble_set_mode() would return early
	 * and restart nothing — yet the connectable set of that mode is down, because the
	 * controller stops a connectable advertisement when it yields a connection and
	 * nothing in the host restarts an extended-API set. Left alone, the tracker takes
	 * exactly one connection per mode change: one UWB handover, or one attempt at a
	 * bind.
	 */
	if (current_mode == FF_BLE_MODE_BEACON) {
		adv = connect_adv;
	} else if (current_mode == FF_BLE_MODE_PAIRING) {
		adv = pairing_adv;
	} else {
		return 0;
	}

	/* -EALREADY means it is still running, which is not a failure. */
	rc = bt_le_ext_adv_start(adv, BT_LE_EXT_ADV_START_DEFAULT);
	if (rc && rc != -EALREADY) {
		LOG_WRN("restarting connectable adv: %d (not reachable until the next mode "
			"change)", rc);
		return rc;
	}
	return 0;
}
```

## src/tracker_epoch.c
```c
/*
 * Rotating beacon id and the tracker's notion of wall-clock time.
 *
 * The id must be byte-identical to TrackerProtocol.epochId (Kotlin) and
 * tracker_epoch_id (Rust), or the owner's recomputed ids never match what finders
 * upload and a sighting silently resolves to nothing. Hence PSA HMAC-SHA256 here
 * rather than any hand-rolled hashing.
 */
#include "ff_tracker.h"

#include <zephyr/kernel.h>
#include <zephyr/logging/log.h>
#include <psa/crypto.h>

#include <string.h>

LOG_MODULE_REGISTER(ff_epoch, LOG_LEVEL_INF);

/* TrackerProtocol.EPOCH_DOMAIN */
static const uint8_t epoch_domain[6] = { 'f', 'f', 't', 'r', 'k', '1' };

uint64_t ff_now_unix(const struct ff_tracker_state *st)
{
	int64_t elapsed_ms;

	if (st->unix_at_base == 0U) {
		return 0U;
	}
	/*
	 * k_uptime_get() is LFCLK-backed and keeps counting through sleep, so this
	 * holds across the idle periods between beacons. It does reset to 0 on reboot,
	 * which is why the caller re-persists the time base once per epoch.
	 */
	elapsed_ms = k_uptime_get() - st->uptime_at_base_ms;
	if (elapsed_ms < 0) {
		elapsed_ms = 0;
	}
	return st->unix_at_base + (uint64_t)(elapsed_ms / 1000);
}

uint64_t ff_current_epoch(const struct ff_tracker_state *st)
{
	uint64_t now = ff_now_unix(st);

	return now == 0U ? 0U : now / FF_EPOCH_SECONDS;
}

int ff_epoch_id(const uint8_t *secret, uint64_t epoch, uint8_t *out)
{
	psa_status_t status;
	psa_key_attributes_t attr = PSA_KEY_ATTRIBUTES_INIT;
	psa_key_id_t key = PSA_KEY_ID_NULL;
	psa_mac_operation_t op = PSA_MAC_OPERATION_INIT;
	uint8_t mac[32];
	uint8_t epoch_be[8];
	size_t mac_len = 0;

	for (int i = 0; i < 8; i++) {
		epoch_be[i] = (uint8_t)(epoch >> (56 - i * 8));
	}

	psa_set_key_usage_flags(&attr, PSA_KEY_USAGE_SIGN_MESSAGE);
	psa_set_key_algorithm(&attr, PSA_ALG_HMAC(PSA_ALG_SHA_256));
	psa_set_key_type(&attr, PSA_KEY_TYPE_HMAC);
	psa_set_key_bits(&attr, FF_SECRET_LEN * 8);

	status = psa_import_key(&attr, secret, FF_SECRET_LEN, &key);
	if (status != PSA_SUCCESS) {
		LOG_ERR("psa_import_key: %d", (int)status);
		return -EIO;
	}

	status = psa_mac_sign_setup(&op, key, PSA_ALG_HMAC(PSA_ALG_SHA_256));
	if (status != PSA_SUCCESS) {
		goto out;
	}
	status = psa_mac_update(&op, epoch_domain, sizeof(epoch_domain));
	if (status != PSA_SUCCESS) {
		goto out;
	}
	status = psa_mac_update(&op, epoch_be, sizeof(epoch_be));
	if (status != PSA_SUCCESS) {
		goto out;
	}
	status = psa_mac_sign_finish(&op, mac, sizeof(mac), &mac_len);

out:
	if (status != PSA_SUCCESS) {
		LOG_ERR("HMAC failed: %d", (int)status);
		(void)psa_mac_abort(&op);
		(void)psa_destroy_key(key);
		return -EIO;
	}
	(void)psa_destroy_key(key);

	if (mac_len < FF_EPOCH_ID_LEN) {
		return -EIO;
	}
	/* Truncate to 16 bytes, exactly as the Kotlin and Rust sides do. */
	memcpy(out, mac, FF_EPOCH_ID_LEN);
	return 0;
}
```
